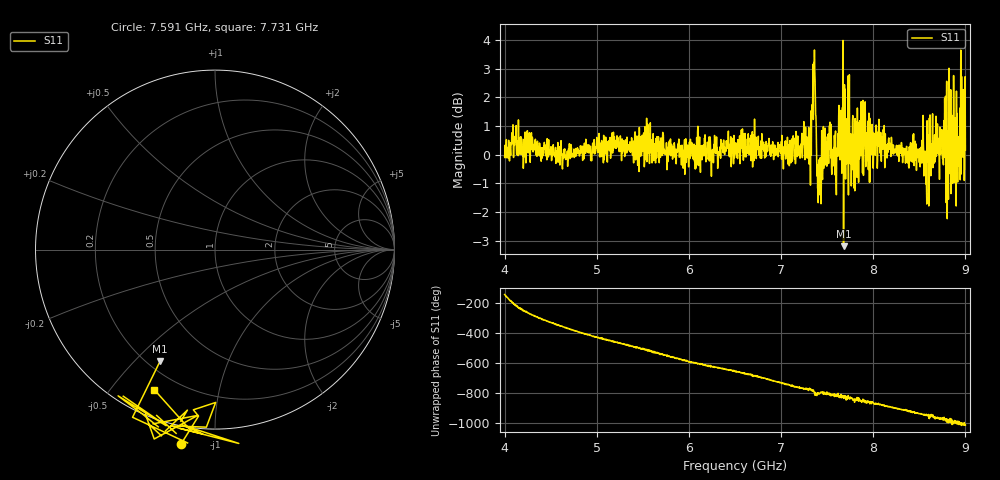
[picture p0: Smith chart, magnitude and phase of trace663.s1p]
! Created with skrf 1.8.0 (http://scikit-rf.org).
# Hz S RI R 50.0
!freq ReS11 ImS11
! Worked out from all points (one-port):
!   1601 points, 4 GHz to 9 GHz, reference 50 ohm
!   lowest |S11| = -3.2 dB at 7.678 GHz (marker M1), VSWR 5.51, Z = 12.4 - j29.7 ohm
!   |S11| at or under -10 dB: nowhere
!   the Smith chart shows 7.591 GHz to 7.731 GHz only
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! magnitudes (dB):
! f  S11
! 4 GHz  -0.1
! 4.1 GHz  0.3
! 4.625 GHz  -0.4
! 5.25 GHz  0.3
! 5.566 GHz  0.2
! 5.875 GHz  0.1
! 6.5 GHz  0.2
! 7.125 GHz  0.3
! 7.294 GHz  0.4
! 7.356 GHz  3.2
! 7.412 GHz  -1.0
! 7.519 GHz  0.3
! 7.575 GHz  0.0
! 7.619 GHz  0.7
! 7.65 GHz  1.5
! 7.678 GHz  -3.2
! 7.75 GHz  -0.3
! 7.775 GHz  1.2
! 7.891 GHz  0.5
! 7.944 GHz  0.2
! 8.05 GHz  0.8
! 8.375 GHz  0.0
! 8.522 GHz  0.0
! 8.581 GHz  -1.7
! 8.759 GHz  -0.3
! 8.919 GHz  0.5
! 8.956 GHz  0.6
! 9 GHz  0.2
